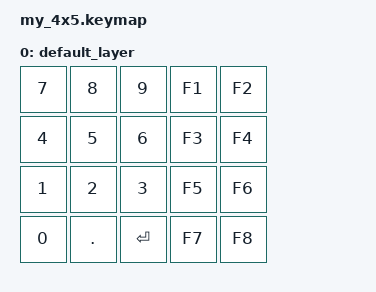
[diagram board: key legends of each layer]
#include <behaviors.dtsi>
#include <dt-bindings/zmk/keys.h>

/ {
    keymap {
        compatible = "zmk,keymap";

        default_layer {
            // 도면 기준: Row 7(첫줄), Row 8(둘째줄)... 순서
            // 각 줄 내부: Col 6, 5, 4, 3, 2 순서
            bindings = <
                &kp N7    &kp N8    &kp N9    &kp F1    &kp F2
                &kp N4    &kp N5    &kp N6    &kp F3    &kp F4
                &kp N1    &kp N2    &kp N3    &kp F5    &kp F6
                &kp N0    &kp DOT   &kp ENTER &kp F7    &kp F8
            >;
        };
    };
};
